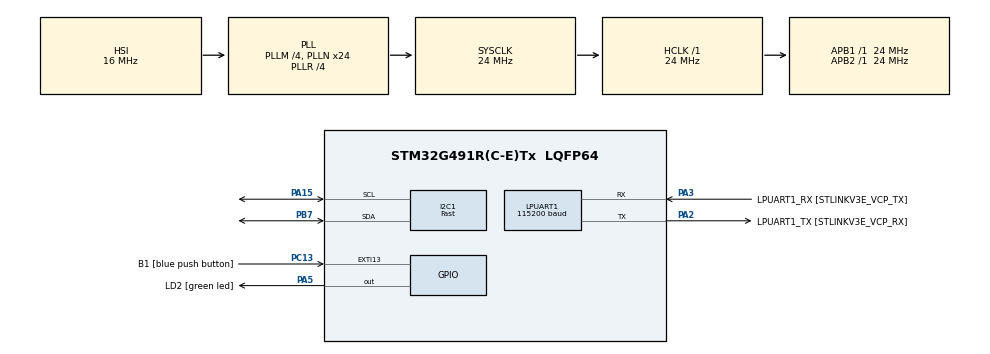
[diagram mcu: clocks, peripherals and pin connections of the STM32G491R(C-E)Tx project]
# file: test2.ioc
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FREERTOS.INCLUDE_vTaskDelete=0
FREERTOS.INCLUDE_vTaskSuspend=0
FREERTOS.MEMORY_ALLOCATION=1
FREERTOS.Tasks01=defaultTask,0,1024,StartDefaultTask,Default,NULL,Static,defaultTaskBuffer,defaultTaskControlBlock
FREERTOS.configCHECK_FOR_STACK_OVERFLOW=2
FREERTOS.configENABLE_FPU=1
FREERTOS.configGENERATE_RUN_TIME_STATS=1
FREERTOS.configRECORD_STACK_HIGH_ADDRESS=1
I2C1.I2C_Speed_Mode=I2C_Fast
I2C1.Timing=0x0040131C
LPUART1.BaudRate=115200
LPUART1.WordLength=UART_WORDLENGTH_8B
Mcu.Family=STM32G4
Mcu.Name=STM32G491R(C-E)Tx
Mcu.Package=LQFP64
NVIC.EXTI15_10_IRQn=true\:5\:0\:false\:false\:true\:true\:true\:true\:true
NVIC.I2C1_ER_IRQn=true\:5\:0\:false\:false\:true\:true\:true\:true\:true
NVIC.I2C1_EV_IRQn=true\:5\:0\:false\:false\:true\:true\:true\:true\:true
NVIC.PriorityGroup=NVIC_PRIORITYGROUP_4
NVIC.TIM7_IRQn=true\:15\:0\:false\:false\:true\:false\:false\:true\:true
NVIC.TimeBase=TIM7_IRQn
NVIC.TimeBaseIP=TIM7
PA13.GPIO_Label=T_SWDIO
PA13.Mode=Trace_Asynchronous_SW
PA13.Signal=SYS_JTMS-SWDIO
PA14.GPIO_Label=T_SWCLK
PA14.Mode=Trace_Asynchronous_SW
PA14.Signal=SYS_JTCK-SWCLK
PA15.Mode=I2C
PA15.Signal=I2C1_SCL
PA2.GPIO_Label=LPUART1_TX [STLINKV3E_VCP_RX]
PA2.Mode=Asynchronous
PA2.Signal=LPUART1_TX
PA3.GPIO_Label=LPUART1_RX [STLINKV3E_VCP_TX]
PA3.Mode=Asynchronous
PA3.Signal=LPUART1_RX
PA5.GPIO_Label=LD2 [green led]
PA5.PinState=GPIO_PIN_RESET
PA5.Signal=GPIO_Output
PB3.GPIO_Label=T_SWO
PB3.Mode=Trace_Asynchronous_SW
PB3.Signal=SYS_JTDO-SWO
PB7.Mode=I2C
PB7.Signal=I2C1_SDA
PC13.GPIO_Label=B1 [blue push button]
PC13.Signal=GPXTI13
PC14-OSC32_IN.Mode=LSE-External-Oscillator
PC14-OSC32_IN.Signal=RCC_OSC32_IN
PC15-OSC32_OUT.Mode=LSE-External-Oscillator
PC15-OSC32_OUT.Signal=RCC_OSC32_OUT
PF0-OSC_IN.Mode=HSE-External-Oscillator
PF0-OSC_IN.Signal=RCC_OSC_IN
PF1-OSC_OUT.Mode=HSE-External-Oscillator
PF1-OSC_OUT.Signal=RCC_OSC_OUT
ProjectManager.HeapSize=0x200
ProjectManager.StackSize=0x400
ProjectManager.TargetToolchain=STM32CubeIDE
RCC.ADC12Freq_Value=24000000
RCC.ADC345Freq_Value=24000000
RCC.AHBFreq_Value=24000000
RCC.APB1Freq_Value=24000000
RCC.APB1TimFreq_Value=24000000
RCC.APB2Freq_Value=24000000
RCC.APB2TimFreq_Value=24000000
RCC.CortexFreq_Value=24000000
RCC.EXTERNAL_CLOCK_VALUE=12288000
RCC.HCLKFreq_Value=24000000
RCC.HSE_VALUE=24000000
RCC.HSI48_VALUE=48000000
RCC.HSI_VALUE=16000000
RCC.PLLM=RCC_PLLM_DIV4
RCC.PLLN=24
RCC.PLLR=RCC_PLLR_DIV4
RCC.RTCClockSelection=RCC_RTCCLKSOURCE_LSE
RCC.SYSCLKFreq_VALUE=24000000
RCC.SYSCLKSource=RCC_SYSCLKSOURCE_PLLCLK
RCC.USBFreq_Value=48000000
RCC.VCOOutputFreq_Value=96000000
VP_FREERTOS_VS_CMSIS_V1.Mode=CMSIS_V1
VP_SYS_VS_DBSignals.Mode=DisableDeadBatterySignals
VP_SYS_VS_tim7.Mode=TIM7
board=NUCLEO-G491RE

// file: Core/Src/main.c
/* USER CODE BEGIN Header */
/**
  ******************************************************************************
  * @file           : main.c
  * @brief          : Main program body
  ******************************************************************************
  * @attention
  *
  * Copyright (c) 2025 STMicroelectronics.
  * All rights reserved.
  *
  * This software is licensed under terms that can be found in the LICENSE file
  * in the root directory of this software component.
  * If no LICENSE file comes with this software, it is provided AS-IS.
  *
  ******************************************************************************
  */
/* USER CODE END Header */
#include "main.h"
#include "cmsis_os.h"

UART_HandleTypeDef hlpuart1;

osThreadId defaultTaskHandle;
uint32_t defaultTaskBuffer[ 1024 ];
osStaticThreadDef_t defaultTaskControlBlock;

void SystemClock_Config(void);
static void MX_GPIO_Init(void);
static void MX_LPUART1_UART_Init(void);
static void MX_I2C1_Init(void);
void StartDefaultTask(void const * argument);

/* USER CODE BEGIN 0 */
void itm_write(const char *ptr, int len)
{
	for (int i = 0; i < len; i++)
	{
		ITM_SendChar(*ptr++);
	}
}

uint32_t notifWait(void)
{
	uint32_t notif = 0;
	xTaskNotifyWait(0, 0xFFFFFFFF, &notif, portMAX_DELAY);
	return notif;
}

/* USER CODE END 0 */

int main(void)
{

  /* MCU Configuration--------------------------------------------------------*/

  /* Reset of all peripherals, Initializes the Flash interface and the Systick. */
  HAL_Init();

  /* Configure the system clock */
  SystemClock_Config();

  /* Initialize all configured peripherals */
  MX_GPIO_Init();
  MX_LPUART1_UART_Init();
  MX_I2C1_Init();
  /* USER CODE BEGIN 2 */
  //itm_write("hello hello\n", 12);
  //itm_write("hello hello\n", 12);

  /* USER CODE END 2 */

  /* Create the thread(s) */
  /* definition and creation of defaultTask */
  osThreadStaticDef(defaultTask, StartDefaultTask, osPriorityNormal, 0, 1024, defaultTaskBuffer, &defaultTaskControlBlock);
  defaultTaskHandle = osThreadCreate(osThread(defaultTask), NULL);

  /* Start scheduler */
  osKernelStart();

  /* We should never get here as control is now taken by the scheduler */

  /* Infinite loop */
  while (1)
  {

  }
}

void SystemClock_Config(void)
{
  RCC_OscInitTypeDef RCC_OscInitStruct = {0};
  RCC_ClkInitTypeDef RCC_ClkInitStruct = {0};

  /** Configure the main internal regulator output voltage
  */
  HAL_PWREx_ControlVoltageScaling(PWR_REGULATOR_VOLTAGE_SCALE1);

  /** Initializes the RCC Oscillators according to the specified parameters
  * in the RCC_OscInitTypeDef structure.
  */
  RCC_OscInitStruct.OscillatorType = RCC_OSCILLATORTYPE_HSI;
  RCC_OscInitStruct.HSIState = RCC_HSI_ON;
  RCC_OscInitStruct.HSICalibrationValue = RCC_HSICALIBRATION_DEFAULT;
  RCC_OscInitStruct.PLL.PLLState = RCC_PLL_ON;
  RCC_OscInitStruct.PLL.PLLSource = RCC_PLLSOURCE_HSI;
  RCC_OscInitStruct.PLL.PLLM = RCC_PLLM_DIV4;
  RCC_OscInitStruct.PLL.PLLN = 24;
  RCC_OscInitStruct.PLL.PLLP = RCC_PLLP_DIV2;
  RCC_OscInitStruct.PLL.PLLQ = RCC_PLLQ_DIV2;
  RCC_OscInitStruct.PLL.PLLR = RCC_PLLR_DIV4;
  if (HAL_RCC_OscConfig(&RCC_OscInitStruct) != HAL_OK)
  {
    Error_Handler();
  }

  /** Initializes the CPU, AHB and APB buses clocks
  */
  RCC_ClkInitStruct.ClockType = RCC_CLOCKTYPE_HCLK|RCC_CLOCKTYPE_SYSCLK
                              |RCC_CLOCKTYPE_PCLK1|RCC_CLOCKTYPE_PCLK2;
  RCC_ClkInitStruct.SYSCLKSource = RCC_SYSCLKSOURCE_PLLCLK;
  RCC_ClkInitStruct.AHBCLKDivider = RCC_SYSCLK_DIV1;
  RCC_ClkInitStruct.APB1CLKDivider = RCC_HCLK_DIV1;
  RCC_ClkInitStruct.APB2CLKDivider = RCC_HCLK_DIV1;

  if (HAL_RCC_ClockConfig(&RCC_ClkInitStruct, FLASH_LATENCY_0) != HAL_OK)
  {
    Error_Handler();
  }
}

static void MX_I2C1_Init(void)
{

  LL_I2C_InitTypeDef I2C_InitStruct = {0};

  LL_GPIO_InitTypeDef GPIO_InitStruct = {0};
  RCC_PeriphCLKInitTypeDef PeriphClkInit = {0};

  /** Initializes the peripherals clocks
  */
  PeriphClkInit.PeriphClockSelection = RCC_PERIPHCLK_I2C1;
  PeriphClkInit.I2c1ClockSelection = RCC_I2C1CLKSOURCE_PCLK1;
  if (HAL_RCCEx_PeriphCLKConfig(&PeriphClkInit) != HAL_OK)
  {
    Error_Handler();
  }

  LL_AHB2_GRP1_EnableClock(LL_AHB2_GRP1_PERIPH_GPIOA);
  LL_AHB2_GRP1_EnableClock(LL_AHB2_GRP1_PERIPH_GPIOB);
  /**I2C1 GPIO Configuration
  PA15   ------> I2C1_SCL
  PB7   ------> I2C1_SDA
  */
  GPIO_InitStruct.Pin = LL_GPIO_PIN_15;
  GPIO_InitStruct.Mode = LL_GPIO_MODE_ALTERNATE;
  GPIO_InitStruct.Speed = LL_GPIO_SPEED_FREQ_LOW;
  GPIO_InitStruct.OutputType = LL_GPIO_OUTPUT_OPENDRAIN;
  GPIO_InitStruct.Pull = LL_GPIO_PULL_NO;
  GPIO_InitStruct.Alternate = LL_GPIO_AF_4;
  LL_GPIO_Init(GPIOA, &GPIO_InitStruct);

  GPIO_InitStruct.Pin = LL_GPIO_PIN_7;
  GPIO_InitStruct.Mode = LL_GPIO_MODE_ALTERNATE;
  GPIO_InitStruct.Speed = LL_GPIO_SPEED_FREQ_LOW;
  GPIO_InitStruct.OutputType = LL_GPIO_OUTPUT_OPENDRAIN;
  GPIO_InitStruct.Pull = LL_GPIO_PULL_NO;
  GPIO_InitStruct.Alternate = LL_GPIO_AF_4;
  LL_GPIO_Init(GPIOB, &GPIO_InitStruct);

  /* Peripheral clock enable */
  LL_APB1_GRP1_EnableClock(LL_APB1_GRP1_PERIPH_I2C1);

  /* I2C1 interrupt Init */
  NVIC_SetPriority(I2C1_EV_IRQn, NVIC_EncodePriority(NVIC_GetPriorityGrouping(),5, 0));
  NVIC_EnableIRQ(I2C1_EV_IRQn);
  NVIC_SetPriority(I2C1_ER_IRQn, NVIC_EncodePriority(NVIC_GetPriorityGrouping(),5, 0));
  NVIC_EnableIRQ(I2C1_ER_IRQn);

  /** I2C Initialization
  */
  I2C_InitStruct.PeripheralMode = LL_I2C_MODE_I2C;
  I2C_InitStruct.Timing = 0x0040131C;
  I2C_InitStruct.AnalogFilter = LL_I2C_ANALOGFILTER_ENABLE;
  I2C_InitStruct.DigitalFilter = 0;
  I2C_InitStruct.OwnAddress1 = 0;
  I2C_InitStruct.TypeAcknowledge = LL_I2C_ACK;
  I2C_InitStruct.OwnAddrSize = LL_I2C_OWNADDRESS1_7BIT;
  LL_I2C_Init(I2C1, &I2C_InitStruct);
  LL_I2C_EnableAutoEndMode(I2C1);
  LL_I2C_SetOwnAddress2(I2C1, 0, LL_I2C_OWNADDRESS2_NOMASK);
  LL_I2C_DisableOwnAddress2(I2C1);
  LL_I2C_DisableGeneralCall(I2C1);
  LL_I2C_EnableClockStretching(I2C1);
  /* USER CODE BEGIN I2C1_Init 2 */
  LL_I2C_HandleTransfer
  /* USER CODE END I2C1_Init 2 */

}

static void MX_LPUART1_UART_Init(void)
{

  hlpuart1.Instance = LPUART1;
  hlpuart1.Init.BaudRate = 115200;
  hlpuart1.Init.WordLength = UART_WORDLENGTH_8B;
  hlpuart1.Init.StopBits = UART_STOPBITS_1;
  hlpuart1.Init.Parity = UART_PARITY_NONE;
  hlpuart1.Init.Mode = UART_MODE_TX_RX;
  hlpuart1.Init.HwFlowCtl = UART_HWCONTROL_NONE;
  hlpuart1.Init.OneBitSampling = UART_ONE_BIT_SAMPLE_DISABLE;
  hlpuart1.Init.ClockPrescaler = UART_PRESCALER_DIV1;
  hlpuart1.AdvancedInit.AdvFeatureInit = UART_ADVFEATURE_NO_INIT;
  if (HAL_UART_Init(&hlpuart1) != HAL_OK)
  {
    Error_Handler();
  }
  if (HAL_UARTEx_SetTxFifoThreshold(&hlpuart1, UART_TXFIFO_THRESHOLD_1_8) != HAL_OK)
  {
    Error_Handler();
  }
  if (HAL_UARTEx_SetRxFifoThreshold(&hlpuart1, UART_RXFIFO_THRESHOLD_1_8) != HAL_OK)
  {
    Error_Handler();
  }
  if (HAL_UARTEx_DisableFifoMode(&hlpuart1) != HAL_OK)
  {
    Error_Handler();
  }

}

static void MX_GPIO_Init(void)
{
  GPIO_InitTypeDef GPIO_InitStruct = {0};

  /* GPIO Ports Clock Enable */
  __HAL_RCC_GPIOC_CLK_ENABLE();
  __HAL_RCC_GPIOF_CLK_ENABLE();
  __HAL_RCC_GPIOA_CLK_ENABLE();
  __HAL_RCC_GPIOB_CLK_ENABLE();

  /*Configure GPIO pin Output Level */
  HAL_GPIO_WritePin(LD2_GPIO_Port, LD2_Pin, GPIO_PIN_RESET);

  /*Configure GPIO pin : B1_Pin */
  GPIO_InitStruct.Pin = B1_Pin;
  GPIO_InitStruct.Mode = GPIO_MODE_IT_RISING;
  GPIO_InitStruct.Pull = GPIO_NOPULL;
  HAL_GPIO_Init(B1_GPIO_Port, &GPIO_InitStruct);

  /*Configure GPIO pin : LD2_Pin */
  GPIO_InitStruct.Pin = LD2_Pin;
  GPIO_InitStruct.Mode = GPIO_MODE_OUTPUT_PP;
  GPIO_InitStruct.Pull = GPIO_NOPULL;
  GPIO_InitStruct.Speed = GPIO_SPEED_FREQ_LOW;
  HAL_GPIO_Init(LD2_GPIO_Port, &GPIO_InitStruct);

  /* EXTI interrupt init*/
  HAL_NVIC_SetPriority(EXTI15_10_IRQn, 5, 0);
  HAL_NVIC_EnableIRQ(EXTI15_10_IRQn);

}

void StartDefaultTask(void const * argument)
{
  /* USER CODE BEGIN 5 */
  osDelay(100);
  extern void rs_main(void);
  rs_main();
  /* USER CODE END 5 */
}

void HAL_TIM_PeriodElapsedCallback(TIM_HandleTypeDef *htim)
{
  if (htim->Instance == TIM7) {
    HAL_IncTick();
  }
  /* USER CODE BEGIN Callback 1 */
  if (htim->Instance == TIM7) {
      static uint32_t cnt = 0;
      cnt ++;

	  BaseType_t higher=0;
	  //xTaskNotifyFromISR(ina3221_taskHandle, NOTIF_INA_READ, eSetBits, &higher);
	  /*
      switch (cnt%1000) {
      case 0:
    	  xTaskNotifyFromISR(defaultTaskHandle, 0x00000001 , eSetBits, &higher);
    	  break;
      case 700:
    	  xTaskNotifyFromISR(defaultTaskHandle, 0x00000002 , eSetBits, &higher);
    	  break;
      default:
    	  // do nothing
    	  break;
      }*/
	  if (0==(cnt%100)) xTaskNotifyFromISR(defaultTaskHandle, 0x00000001 , eSetBits, &higher);
	  portYIELD_FROM_ISR(higher);

    }
  /* USER CODE END Callback 1 */
}

void Error_Handler(void)
{
  __disable_irq();
  while (1)
  {
  }
}

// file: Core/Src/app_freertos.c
/* USER CODE BEGIN Header */
/**
  ******************************************************************************
  * File Name          : app_freertos.c
  * Description        : Code for freertos applications
  ******************************************************************************
  * @attention
  *
  * Copyright (c) 2025 STMicroelectronics.
  * All rights reserved.
  *
  * This software is licensed under terms that can be found in the LICENSE file
  * in the root directory of this software component.
  * If no LICENSE file comes with this software, it is provided AS-IS.
  *
  ******************************************************************************
  */
/* USER CODE END Header */

#include "FreeRTOS.h"
#include "task.h"
#include "main.h"

/* GetIdleTaskMemory prototype (linked to static allocation support) */
void vApplicationGetIdleTaskMemory( StaticTask_t **ppxIdleTaskTCBBuffer, StackType_t **ppxIdleTaskStackBuffer, uint32_t *pulIdleTaskStackSize );

/* Hook prototypes */
void configureTimerForRunTimeStats(void);
unsigned long getRunTimeCounterValue(void);
void vApplicationStackOverflowHook(xTaskHandle xTask, signed char *pcTaskName);

/* USER CODE BEGIN 1 */
/* Functions needed when configGENERATE_RUN_TIME_STATS is on */
__weak void configureTimerForRunTimeStats(void)
{

}

__weak unsigned long getRunTimeCounterValue(void)
{
return 0;
}
/* USER CODE END 1 */

/* USER CODE BEGIN 4 */
__weak void vApplicationStackOverflowHook(xTaskHandle xTask, signed char *pcTaskName)
{
   /* Run time stack overflow checking is performed if
   configCHECK_FOR_STACK_OVERFLOW is defined to 1 or 2. This hook function is
   called if a stack overflow is detected. */
}
/* USER CODE END 4 */

/* USER CODE BEGIN GET_IDLE_TASK_MEMORY */
static StaticTask_t xIdleTaskTCBBuffer;
static StackType_t xIdleStack[configMINIMAL_STACK_SIZE];

void vApplicationGetIdleTaskMemory( StaticTask_t **ppxIdleTaskTCBBuffer, StackType_t **ppxIdleTaskStackBuffer, uint32_t *pulIdleTaskStackSize )
{
  *ppxIdleTaskTCBBuffer = &xIdleTaskTCBBuffer;
  *ppxIdleTaskStackBuffer = &xIdleStack[0];
  *pulIdleTaskStackSize = configMINIMAL_STACK_SIZE;
  /* place for user code */
}
/* USER CODE END GET_IDLE_TASK_MEMORY */
